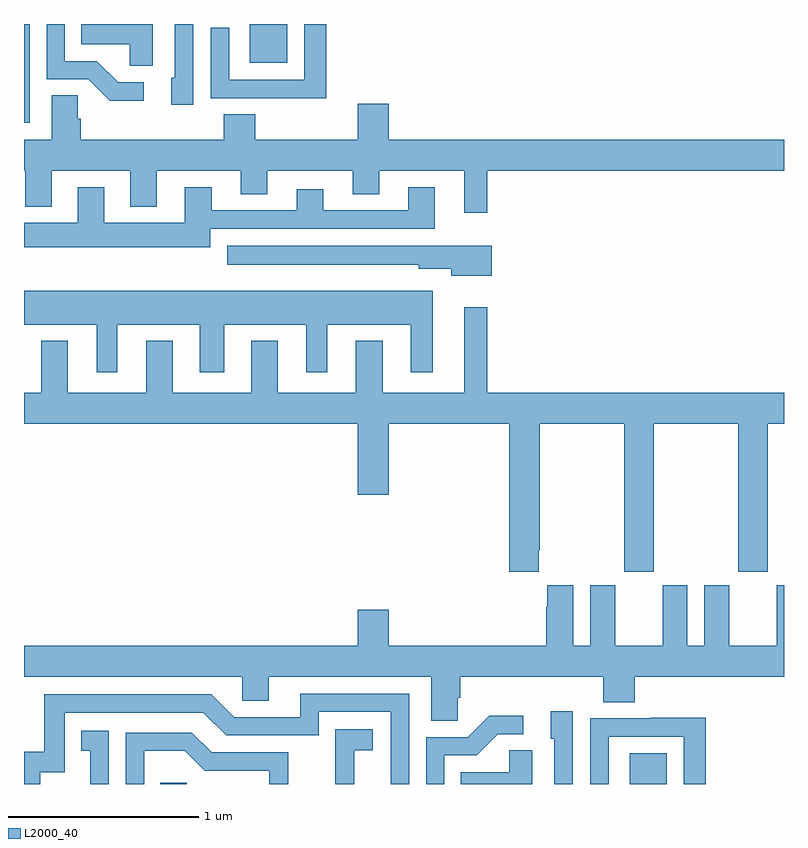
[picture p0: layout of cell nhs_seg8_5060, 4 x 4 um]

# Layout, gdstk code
import gdstk
lib = gdstk.Library(unit=1e-6, precision=1e-09)
def R(c, l, rs):  # rectangles x0, y0, x1, y1
    for r in rs: c.add(gdstk.rectangle(r[:2], r[2:], *l))
def P(c, l, *ps):  # polygons
    for p in ps: c.add(gdstk.Polygon(p, *l))
L2000_40 = (2000, 40)

nhs_seg8_5060 = lib.new_cell('nhs_seg8_5060')
R(nhs_seg8_5060, L2000_40, [(415.717,1151.9,415.857,1151.907), (418.187,1151.9,418.384,1152.061), (415,1155.381,415.029,1155.9)])
P(nhs_seg8_5060, L2000_40, [(416.386,1155.898),(416.347,1155.898),(416.347,1155.9),(416.189,1155.9),(416.189,1155.695),(416.386,1155.695)],
  [(415.63,1155.594),(415.495,1155.594),(415.384,1155.705),(415.215,1155.705),(415.215,1155.9),(415.119,1155.9),(415.119,1155.609),(415.338,1155.609),(415.451,1155.497),(415.63,1155.497)],
  [(415.89,1155.9),(415.794,1155.9),(415.794,1155.618),(415.775,1155.618),(415.775,1155.474),(415.89,1155.474)],
  [(416.591,1155.9),(416.475,1155.9),(416.475,1155.606),(416.079,1155.606),(416.079,1155.88),(415.983,1155.88),(415.983,1155.51),(416.299,1155.51),(416.299,1155.509),(416.591,1155.509)],
  [(415.678,1155.898),(415.3,1155.898),(415.3,1155.794),(415.557,1155.794),(415.557,1155.679),(415.678,1155.679)],
  [(417.439,1155.128),(419,1155.128),(419,1155.292),(416.92,1155.292),(416.92,1155.481),(416.756,1155.481),(416.756,1155.292),(416.216,1155.292),(416.216,1155.425),(416.051,1155.425),(416.051,1155.292),(415.298,1155.292),(415.298,1155.401),(415.284,1155.401),(415.284,1155.524),(415.145,1155.524),(415.145,1155.292),(415,1155.292),(415,1155.128),(415.007,1155.128),(415.007,1154.939),(415.147,1154.939),(415.147,1155.128),(415.559,1155.128),(415.559,1154.939),(415.699,1154.939),(415.699,1155.128),(416.141,1155.128),(416.141,1155.004),(416.281,1155.004),(416.281,1155.128),(416.729,1155.128),(416.729,1155.004),(416.869,1155.004),(416.869,1155.128),(417.317,1155.128),(417.317,1154.907),(417.439,1154.907)],
  [(415.981,1154.823),(417.163,1154.823),(417.163,1155.04),(417.023,1155.04),(417.023,1154.919),(416.575,1154.919),(416.575,1155.031),(416.435,1155.031),(416.435,1154.919),(415.987,1154.919),(415.987,1155.04),(415.847,1155.04),(415.847,1154.854),(415.423,1154.854),(415.423,1155.04),(415.283,1155.04),(415.283,1154.854),(415,1154.854),(415,1154.726),(415.981,1154.726)],
  [(417.463,1154.734),(416.07,1154.734),(416.07,1154.633),(417.078,1154.633),(417.078,1154.612),(417.248,1154.612),(417.248,1154.576),(417.463,1154.576)],
  [(415.492,1154.318),(415.925,1154.318),(415.925,1154.067),(416.053,1154.067),(416.053,1154.318),(416.486,1154.318),(416.486,1154.067),(416.596,1154.067),(416.596,1154.318),(417.035,1154.318),(417.035,1154.067),(417.151,1154.067),(417.151,1154.497),(415,1154.497),(415,1154.318),(415.382,1154.318),(415.382,1154.067),(415.492,1154.067)],
  [(417.709,1153.129),(417.714,1153.129),(417.714,1153.796),(418.159,1153.796),(418.159,1153.017),(418.314,1153.017),(418.314,1153.796),(418.759,1153.796),(418.759,1153.017),(418.914,1153.017),(418.914,1153.796),(419,1153.796),(419,1153.96),(417.439,1153.96),(417.439,1154.41),(417.317,1154.41),(417.317,1153.96),(416.887,1153.96),(416.887,1154.233),(416.747,1154.233),(416.747,1153.96),(416.335,1153.96),(416.335,1154.233),(416.195,1154.233),(416.195,1153.96),(415.783,1153.96),(415.783,1154.233),(415.643,1154.233),(415.643,1153.96),(415.231,1153.96),(415.231,1154.233),(415.091,1154.233),(415.091,1153.96),(415,1153.96),(415,1153.796),(416.756,1153.796),(416.756,1153.422),(416.92,1153.422),(416.92,1153.796),(417.554,1153.796),(417.554,1153.017),(417.709,1153.017)],
  [(417.282,1152.355),(417.296,1152.355),(417.296,1152.464),(418.049,1152.464),(418.049,1152.331),(418.214,1152.331),(418.214,1152.464),(419,1152.464),(419,1152.946),(418.961,1152.946),(418.961,1152.628),(418.711,1152.628),(418.711,1152.946),(418.58,1152.946),(418.58,1152.628),(418.492,1152.628),(418.492,1152.946),(418.361,1152.946),(418.361,1152.628),(418.111,1152.628),(418.111,1152.946),(417.98,1152.946),(417.98,1152.628),(417.892,1152.628),(417.892,1152.946),(417.755,1152.946),(417.755,1152.833),(417.749,1152.833),(417.749,1152.628),(416.92,1152.628),(416.92,1152.817),(416.756,1152.817),(416.756,1152.628),(415,1152.628),(415,1152.464),(416.148,1152.464),(416.148,1152.337),(416.287,1152.337),(416.287,1152.464),(417.143,1152.464),(417.143,1152.232),(417.282,1152.232)],
  [(415.086,1151.961),(415.215,1151.961),(415.215,1152.276),(415.944,1152.276),(416.064,1152.156),(416.55,1152.156),(416.55,1152.279),(416.931,1152.279),(416.931,1151.9),(417.027,1151.9),(417.027,1152.375),(416.453,1152.375),(416.453,1152.252),(416.106,1152.252),(415.986,1152.372),(415.107,1152.372),(415.107,1152.07),(415,1152.07),(415,1151.9),(415.086,1151.9)],
  [(417.888,1152.283),(417.773,1152.283),(417.773,1152.138),(417.792,1152.138),(417.792,1151.9),(417.888,1151.9)],
  [(417.213,1152.051),(417.382,1152.051),(417.493,1152.162),(417.628,1152.162),(417.628,1152.26),(417.449,1152.26),(417.336,1152.147),(417.117,1152.147),(417.117,1151.9),(417.213,1151.9)],
  [(418.077,1152.15),(418.473,1152.15),(418.473,1151.9),(418.589,1151.9),(418.589,1152.248),(418.297,1152.248),(418.297,1152.246),(417.981,1152.246),(417.981,1151.9),(418.077,1151.9)],
  [(416.738,1152.077),(416.836,1152.077),(416.836,1152.187),(416.638,1152.187),(416.638,1151.981),(416.639,1151.981),(416.639,1151.9),(416.738,1151.9)],
  [(415.446,1152.181),(415.3,1152.181),(415.3,1152.075),(415.349,1152.075),(415.349,1151.9),(415.446,1151.9)],
  [(415.632,1152.074),(415.846,1152.074),(415.95,1151.97),(416.292,1151.97),(416.292,1151.9),(416.391,1151.9),(416.391,1152.066),(415.987,1152.066),(415.882,1152.171),(415.536,1152.171),(415.536,1151.9),(415.632,1151.9)],
  [(417.676,1152.077),(417.555,1152.077),(417.555,1151.962),(417.298,1151.962),(417.298,1151.9),(417.676,1151.9)])

lib.write_gds('nhs_seg8_5060.gds')
